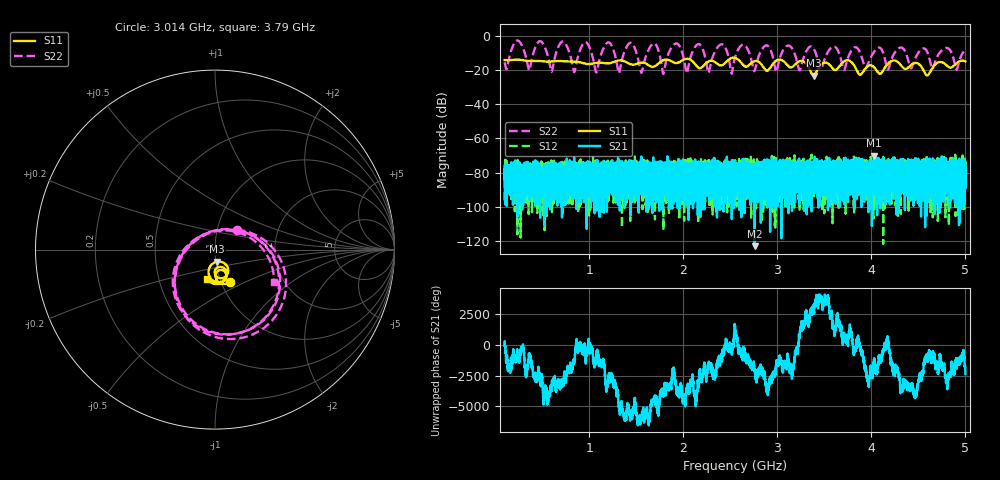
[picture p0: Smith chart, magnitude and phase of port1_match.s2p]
!Keysight Technologies N9917A: A.13.25
!Date: Thursday, 15 October 2026 16:20:44
!Timezone: (UTC-08:00) Pacific Time (US & Canada)
!Model: N9917A
!Serial: MY56072049
!GPS Latitude:
!GPS Longitude:
!GPS TimeStamp: 0001-01-01 00:00:00Z
!GPS Seconds Since Last Read: 0
!CHECKSUM:0104811348
!Correction: S11(Rdy)S21(Rdy)S12(Rdy)S22(Rdy)
!S2P File: Measurements:S11,S21,S12,S22:
# Hz S DB R 50
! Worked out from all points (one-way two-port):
!   10001 points, 100 MHz to 5 GHz, reference 50 ohm
!   highest |S21| = -70.12 dB at 4.027 GHz (marker M1); lowest = -122.9 dB at 2.76 GHz (marker M2)
!   lowest |S11| = -23.3 dB at 3.385 GHz (marker M3), VSWR 1.15, Z = 50.7 - j6.83 ohm
!   |S11| at or under -10 dB: start of sweep to end of sweep
!   |S22| runs from -22.3 to -2.8 dB; largest |S21 - S12| = 0.00047
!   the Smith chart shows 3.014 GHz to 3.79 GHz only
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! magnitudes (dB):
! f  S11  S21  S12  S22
! 100 MHz  -14.2  -78.4  -96.3  -15.5
! 231.8 MHz  -14.0  -89.1  -83.2  -2.8
! 360.2 MHz  -14.8  -86.9  -79.1  -20.3
! 469.9 MHz  -14.8  -87.5  -79.5  -3.2
! 598.3 MHz  -15.1  -93.2  -81.8  -21.1
! 705.1 MHz  -14.8  -78.7  -78.4  -3.7
! 839.4 MHz  -15.1  -71.1  -77.3  -21.2
! 916.8 MHz  -15.7  -84.1  -84.5  -6.5
! 1.075 GHz  -15.9  -86.6  -77.1  -21.4
! 1.198 GHz  -16.2  -75.5  -81.0  -4.0
! 1.316 GHz  -14.5  -76.1  -82.9  -22.0
! 1.43 GHz  -16.5  -87.5  -82.4  -4.3
! 1.554 GHz  -15.7  -70.5  -75.8  -21.6
! 1.734 GHz  -16.3  -84.9  -79.7  -8.3
! 2.55 GHz  -12.9  -84.2  -80.2  -12.7
! 2.76 GHz  -14.9  -122.9  -85.9  -20.4
! 2.874 GHz  -20.0  -79.5  -82.3  -5.8
! 3.367 GHz  -22.3  -74.2  -80.4  -6.4
! 3.385 GHz  -23.3  -82.6  -81.0  -7.4
! 4.027 GHz  -18.4  -70.1  -73.9  -9.5
! 4.184 GHz  -15.9  -81.4  -85.6  -19.2
! 5 GHz  -15.0  -88.6  -79.6  -8.2
